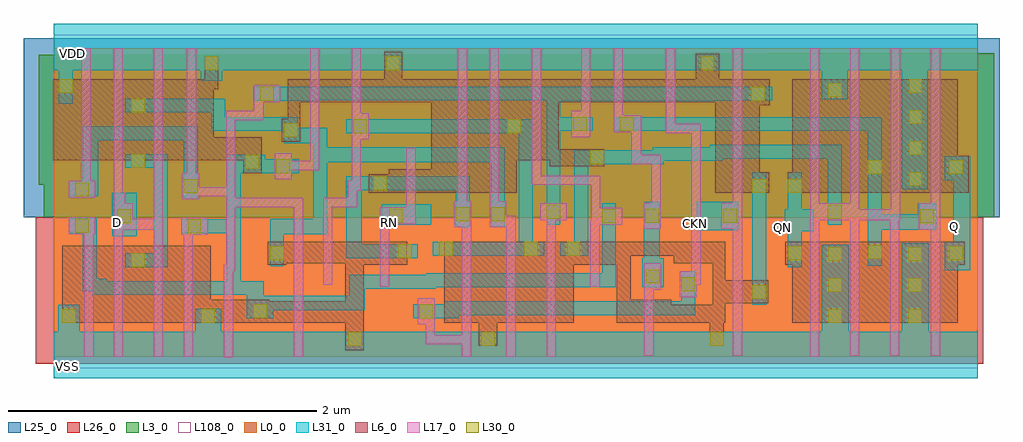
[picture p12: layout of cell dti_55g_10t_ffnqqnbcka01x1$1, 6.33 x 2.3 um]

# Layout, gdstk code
from math import pi, radians
import gdstk
lib = gdstk.Library(unit=1e-6, precision=1e-09)
def R(c, l, rs):  # rectangles x0, y0, x1, y1
    for r in rs: c.add(gdstk.rectangle(r[:2], r[2:], *l))
def P(c, l, *ps):  # polygons
    for p in ps: c.add(gdstk.Polygon(p, *l))
L0_0 = (0, 0)
L3_0 = (3, 0)
L6_0 = (6, 0)
L17_0 = (17, 0)
L25_0 = (25, 0)
L26_0 = (26, 0)
L30_0 = (30, 0)
L31_0 = (31, 0)
L108_0 = (108, 0)
L923_0 = (923, 0)

template_55g_10t_2 = lib.new_cell('template_55g_10t$2')
R(template_55g_10t_2, L31_0, [(0,-0.15,0.2,0.15), (0,1.85,0.2,2.15)])
template_55g_10t_2.add(gdstk.FlexPath([(0.2,0.21),(0,0.21)], 0, ends="flush", simple_path=True, layer=923, datatype=0))  # L923_0
template_55g_10t_2.add(gdstk.FlexPath([(0.2,0.735),(0,0.735)], 0, ends="flush", simple_path=True, layer=923, datatype=0))  # L923_0
template_55g_10t_2.add(gdstk.FlexPath([(0.2,0.895),(0,0.895)], 0, ends="flush", simple_path=True, layer=923, datatype=0))  # L923_0
template_55g_10t_2.add(gdstk.FlexPath([(0.2,1.055),(0,1.055)], 0, ends="flush", simple_path=True, layer=923, datatype=0))  # L923_0
template_55g_10t_2.add(gdstk.FlexPath([(0.2,1.79),(0,1.79)], 0, ends="flush", simple_path=True, layer=923, datatype=0))  # L923_0

cellgrid_nom2_2 = lib.new_cell('cellgrid_noM2$2')
R(cellgrid_nom2_2, L0_0, [(0,0,0.2,0.2)])
cellgrid_nom2_2.add(gdstk.FlexPath([(0.2,0),(0,0.2)], 0, ends="flush", simple_path=True, layer=0, datatype=0))  # L0_0
cellgrid_nom2_2.add(gdstk.FlexPath([(0.2,0.2),(0,0)], 0, ends="flush", simple_path=True, layer=0, datatype=0))  # L0_0

pmos_735_n_2 = lib.new_cell('pmos_735_n_2')
R(pmos_735_n_2, L3_0, [(-0.275,-0.16,0.335,0.895)])
R(pmos_735_n_2, L6_0, [(-0.115,0,0.175,0.735)])
R(pmos_735_n_2, L17_0, [(0,-0.14,0.06,0.875)])
R(pmos_735_n_2, L25_0, [(-0.245,-0.16,0.305,0.895)])

cnt_n_2 = lib.new_cell('cnt_n$2')
R(cnt_n_2, L6_0, [(-0.06,-0.075,0.06,0.075)])
R(cnt_n_2, L30_0, [(-0.045,-0.045,0.045,0.045)])
R(cnt_n_2, L31_0, [(-0.045,-0.045,0.045,0.045)])

pmos_4_n_2 = lib.new_cell('pmos_4_n_2')
R(pmos_4_n_2, L3_0, [(-0.275,-0.16,0.335,0.56)])
R(pmos_4_n_2, L6_0, [(-0.115,0,0.175,0.4)])
R(pmos_4_n_2, L17_0, [(0,-0.14,0.06,0.54)])
R(pmos_4_n_2, L25_0, [(-0.245,-0.16,0.305,0.56)])

pmos_15_n_2 = lib.new_cell('pmos_15_n_2')
R(pmos_15_n_2, L3_0, [(-0.275,-0.16,0.335,0.31)])
R(pmos_15_n_2, L6_0, [(-0.115,0,0.175,0.15)])
R(pmos_15_n_2, L17_0, [(0,-0.14,0.06,0.29)])
R(pmos_15_n_2, L25_0, [(-0.245,-0.16,0.305,0.31)])

nmos_525_n_2 = lib.new_cell('nmos_525_n_2')
R(nmos_525_n_2, L6_0, [(-0.115,0,0.175,0.525)])
R(nmos_525_n_2, L17_0, [(0,-0.14,0.06,0.665)])
R(nmos_525_n_2, L26_0, [(-0.245,-0.16,0.305,0.685)])

cnt = lib.new_cell('cnt')
R(cnt, L30_0, [(-0.045,-0.045,0.045,0.045)])
R(cnt, L31_0, [(-0.045,-0.045,0.045,0.045)])

cnt_2 = lib.new_cell('cnt$2')
R(cnt_2, L30_0, [(-0.045,-0.045,0.045,0.045)])
R(cnt_2, L31_0, [(-0.045,-0.045,0.045,0.045)])

pcnt_v_1 = lib.new_cell('pcnt_v$1')
R(pcnt_v_1, L17_0, [(-0.055,-0.085,0.055,0.085)])
P(pcnt_v_1, L17_0, [(0.005,0.04),(0.005,0.04),(0.005,0.04),(0.005,0.04)])
pcnt_v_1.add(gdstk.Reference(cnt_2, (0,0)))

nmos_525_n_2_2 = lib.new_cell('nmos_525_n_2$2')
R(nmos_525_n_2_2, L6_0, [(-0.115,-0.01,0.175,0.49)])
R(nmos_525_n_2_2, L17_0, [(0,-0.15,0.06,0.665)])
R(nmos_525_n_2_2, L26_0, [(-0.245,-0.16,0.305,0.66)])

nmos_1_n_2 = lib.new_cell('nmos_1_n_2')
R(nmos_1_n_2, L6_0, [(-0.115,0,0.175,0.14)])
R(nmos_1_n_2, L17_0, [(0,-0.14,0.06,0.27)])
R(nmos_1_n_2, L26_0, [(-0.245,-0.16,0.305,0.275)])

nmos_15_n_2 = lib.new_cell('nmos_15_n_2')
R(nmos_15_n_2, L6_0, [(-0.115,0,0.175,0.15)])
R(nmos_15_n_2, L17_0, [(0,-0.14,0.06,0.29)])
R(nmos_15_n_2, L26_0, [(-0.245,-0.16,0.305,0.31)])

dti_55g_10t_ffnqqnbcka01 = lib.new_cell('dti_55g_10t_ffnqqnbcka01x1$1')
P(dti_55g_10t_ffnqqnbcka01, L3_0, [(-2.12,1.015),(-2.12,2.07),(2.09,2.07),(2.09,2.075),(2.585,2.075),(2.585,2.08),(4.05,2.08),(4.05,1.015)])
R(dti_55g_10t_ffnqqnbcka01, L6_0, [(0.705,0.18,0.825,0.38), (2.205,0.18,2.295,0.33), (-0.16,0.3,-0.04,0.33), (-2,0.33,-1.95,0.83), (-0.665,0.33,-0.57,0.47), (-0.355,0.33,-0.04,0.47), (-0.16,0.33,-0.04,0.855), (0.33,1.175,0.49,1.325), (2.53,1.175,2.59,1.305), (2.71,1.175,2.74,1.305), (3.815,1.175,3.885,1.415), (0.395,1.325,0.465,1.76), (-1.55,1.335,-1.46,1.385), (1.165,1.345,1.52,1.455), (-0.805,1.38,-0.705,1.535), (-2.055,1.385,-1.95,1.91), (-0.535,1.63,-0.455,1.91), (2.53,1.74,2.595,1.91), (0.025,1.76,0.485,1.91), (1.205,1.76,1.325,1.91), (1.725,1.76,1.83,1.91), (2.07,1.76,2.125,1.91), (2.115,1.76,2.265,2.06), (-1.075,1.845,-0.985,2.06), (0.09,1.91,0.21,1.94)])
P(dti_55g_10t_ffnqqnbcka01, L6_0, [(1.94,0.33),(1.94,0.47),(1.955,0.47),(1.955,0.445),(2.225,0.445),(2.225,0.71),(2.225,0.71),(2.225,0.855),(2.305,0.855),(2.305,0.33)],
  [(1.6,0.33),(1.6,0.765),(1.595,0.765),(1.595,0.855),(2.02,0.855),(2.02,0.765),(1.69,0.765),(1.69,0.33)],
  [(-1.915,0.405),(-1.915,0.405),(-1.915,0.405),(-1.915,0.405)])
R(dti_55g_10t_ffnqqnbcka01, L17_0, [(-0.95,0.105,-0.89,0.19), (-1.855,0.11,-1.795,0.19), (-1.665,0.11,-1.605,0.19), (-1.405,0.11,-1.345,0.19), (-1.21,0.11,-1.15,0.19), (-0.495,0.11,-0.435,0.19), (0.595,0.11,0.655,0.19), (0.885,0.11,0.945,0.19), (1.145,0.11,1.205,0.19), (2.855,0.11,2.915,0.19), (1.78,0.115,1.84,0.19), (2.355,0.115,2.415,0.315), (3.115,0.115,3.175,0.19), (3.375,0.115,3.435,0.19), (3.64,0.115,3.7,0.19), (1.78,0.19,1.84,0.255), (2.355,0.715,2.415,1.02), (-0.935,0.79,-0.875,1.175), (-1.575,0.935,-1.345,1.005), (3.64,0.935,3.7,1.1), (0.775,0.95,0.945,1.025), (-1.405,0.96,-1.345,1.275), (-0.495,0.97,-0.435,1.14), (0.065,0.97,0.295,1.08), (2.085,0.97,2.145,1.62), (2.085,0.975,2.14,1.075), (1.435,0.995,1.495,1.24), (2.855,0.995,2.93,1.105), (3.085,0.995,3.13,1.105), (3.115,0.995,3.4,1.065), (3.38,0.995,3.44,1.06), (3.64,1,3.7,1.075), (-1.665,1.005,-1.59,1.175), (2.9,1.005,3.055,1.105), (2.36,1.02,2.415,1.035), (0.565,1.03,0.625,1.465), (0.775,1.03,0.835,1.465), (-0.9,1.08,-0.435,1.14), (1.825,1.085,1.885,1.42), (2.365,1.095,2.415,1.17), (-0.935,1.125,-0.875,1.245), (-1.11,1.15,-0.895,1.21), (-1.665,1.165,-1.605,1.245), (-1.19,1.225,-1.13,1.26), (1.05,1.225,1.495,1.285), (-0.525,1.32,-0.365,1.38), (-0.39,1.32,-0.33,1.63), (1.695,1.36,1.76,1.675), (1.73,1.36,1.86,1.42), (1.4,1.535,1.43,1.635), (1.92,1.56,2.095,1.62), (-0.935,1.575,-0.875,1.705), (-0.935,1.645,-0.695,1.705), (-0.755,1.645,-0.69,1.795), (1.37,1.97,1.43,2.05), (-1.875,2.05,-1.815,2.11), (-1.665,2.05,-1.605,2.11), (-1.405,2.05,-1.345,2.11), (-1.19,2.05,-1.13,2.11), (-0.39,2.05,-0.33,2.11), (-0.12,2.05,-0.06,2.11), (0.57,2.05,0.63,2.11), (0.775,2.05,0.835,2.11), (1.05,2.05,1.11,2.11), (1.37,2.05,1.43,2.11), (1.58,2.05,1.64,2.11), (1.92,2.05,1.98,2.11), (2.355,2.05,2.415,2.11), (2.855,2.05,2.915,2.11), (3.115,2.05,3.175,2.11), (3.38,2.05,3.44,2.11), (3.64,2.05,3.7,2.11)])
P(dti_55g_10t_ffnqqnbcka01, L17_0, [(-0.95,0.62),(-0.95,0.705),(-0.935,0.705),(-0.935,0.79),(-0.875,0.79),(-0.875,0.665),(-0.89,0.665),(-0.89,0.62)],
  [(0.36,0.19),(0.36,0.34),(0.42,0.34),(0.42,0.25),(0.61,0.25),(0.61,0.19)],
  [(-0.305,0.95),(-0.305,1.14),(-0.145,1.14),(-0.145,1.255),(-0.12,1.255),(-0.12,1.52),(-0.06,1.52),(-0.06,1.185),(-0.085,1.185),(-0.085,1.08),(-0.245,1.08),(-0.245,0.95)])
R(dti_55g_10t_ffnqqnbcka01, L25_0, [(-2.25,1.015,4.085,2.175)])
P(dti_55g_10t_ffnqqnbcka01, L25_0, [(-2.09,1.015),(-2.09,2.07),(0.115,2.07),(0.115,2.075),(0.36,2.075),(0.36,2.07),(2.12,2.07),(2.12,2.075),(2.615,2.075),(2.615,2.08),(3.945,2.08),(3.945,2.07),(4.01,2.07),(4.01,1.015)])
R(dti_55g_10t_ffnqqnbcka01, L26_0, [(-2.17,0.065,3.98,1.015)])
P(dti_55g_10t_ffnqqnbcka01, L26_0, [(-0.3,0.175),(-0.3,0.21),(-2.09,0.21),(-2.09,1.015),(3.98,1.015),(3.98,0.21),(3.945,0.21),(3.945,0.205),(3.42,0.205),(3.42,0.2),(2.87,0.2),(2.87,0.205),(2.615,0.205),(2.615,0.21),(1.45,0.21),(1.45,0.2),(0.355,0.2),(0.355,0.21),(0.065,0.21),(0.065,0.175)])
R(dti_55g_10t_ffnqqnbcka01, L31_0, [(-1.135,0.11,-0.965,0.42), (2.93,0.11,3.105,0.835), (3.45,0.11,3.625,0.845), (-2.025,0.115,-1.885,0.445), (-0.145,0.115,0.025,0.27), (0.28,0.36,0.575,0.45), (-1.865,0.535,-1.71,0.615), (-0.135,0.55,0.425,0.64), (-1.59,0.69,-1.4,0.78), (-1.405,0.69,-1.315,1.335), (-1.675,0.89,-1.515,1.175), (0.075,0.965,0.395,1.1), (3.45,1.195,3.62,2.11), (-1.59,1.335,-1.315,1.425), (1.58,1.575,2.31,1.665), (-2.02,1.75,-1.93,2.105), (2.93,1.78,3.1,2.105), (-1.1,1.9,-0.96,2.105), (0.075,1.97,0.23,2.11), (2.1,1.97,2.285,2.11)])
P(dti_55g_10t_ffnqqnbcka01, L31_0, [(2.71,0.69),(2.71,0.925),(2.69,0.925),(2.69,1.065),(2.71,1.065),(2.71,1.305),(2.8,1.305),(2.8,1.065),(2.88,1.065),(2.88,0.925),(2.8,0.925),(2.8,0.69)],
  [(1.235,0.765),(1.235,0.855),(1.325,0.855),(1.325,1.45),(1.835,1.45),(1.835,1.47),(2.205,1.47),(2.205,1.485),(3.06,1.485),(3.06,0.965),(2.97,0.965),(2.97,1.395),(2.29,1.395),(2.29,1.38),(1.905,1.38),(1.905,1.36),(1.415,1.36),(1.415,0.765)],
  [(3.23,0.7),(3.23,1.575),(2.31,1.575),(2.31,1.665),(3.32,1.665),(3.32,1.035),(3.555,1.035),(3.555,1.105),(3.675,1.105),(3.675,0.935),(3.32,0.935),(3.32,0.7)],
  [(2.12,0.93),(2.12,1.115),(2.315,1.115),(2.315,1.115),(2.39,1.115),(2.39,0.93),(2.315,0.93)],
  [(3.73,0.67),(3.73,0.855),(3.785,0.855),(3.785,1.255),(3.73,1.255),(3.73,1.41),(3.895,1.41),(3.895,0.67)],
  [(1.145,0.965),(1.145,1.77),(-0.355,1.77),(-0.355,1.77),(-0.76,1.77),(-0.76,1.86),(-0.25,1.86),(-0.25,1.86),(1.16,1.86),(1.16,1.86),(2.305,1.86),(2.305,1.86),(2.61,1.86),(2.61,1.77),(2.4,1.77),(2.4,1.77),(1.235,1.77),(1.235,1.665),(1.445,1.665),(1.445,1.575),(1.235,1.575),(1.235,0.965)],
  [(0.405,0.765),(0.405,0.855),(0.965,0.855),(0.965,1.56),(-0.155,1.56),(-0.155,1.65),(1.055,1.65),(1.055,0.855),(1.13,0.855),(1.13,0.765),(1.065,0.765),(0.955,0.765)],
  [(-0.155,0.75),(-0.155,1.28),(0.645,1.28),(0.645,0.95),(0.555,0.95),(0.555,1.19),(-0.055,1.19),(-0.055,0.84),(0.31,0.84),(0.31,0.75),(0.24,0.75)],
  [(1.765,0.56),(1.765,0.75),(1.775,0.75),(1.775,1.115),(1.88,1.115),(1.88,0.75),(1.905,0.75),(1.905,0.56)],
  [(0.485,0.38),(0.485,0.47),(0.54,0.47),(0.54,0.47),(2.02,0.47),(2.02,0.665),(2.11,0.665),(2.11,0.38),(0.55,0.38),(0.55,0.38)],
  [(0.365,0.56),(0.365,0.65),(1.505,0.65),(1.505,1.105),(1.595,1.105),(1.595,0.56)],
  [(-0.65,0.695),(-0.65,0.795),(-0.65,0.795),(-0.65,1.005),(-0.37,1.005),(-0.37,1.495),(-0.56,1.495),(-0.56,1.57),(-0.56,1.57),(-0.56,1.575),(-1.03,1.575),(-1.03,1.695),(-1.59,1.695),(-1.59,1.785),(-0.94,1.785),(-0.94,1.665),(-0.47,1.665),(-0.47,1.595),(-0.28,1.595),(-0.28,1.47),(0.875,1.47),(0.875,0.95),(0.785,0.95),(0.785,1.37),(-0.28,1.37),(-0.28,0.905),(-0.56,0.905),(-0.56,0.695)],
  [(-1.21,1.13),(-1.21,1.515),(-1.765,1.515),(-1.765,1.15),(-1.955,1.15),(-1.955,1.25),(-1.865,1.25),(-1.865,1.605),(-1.12,1.605),(-1.12,1.235),(-1.12,1.235),(-1.12,1.13)],
  [(-1.865,0.565),(-1.865,0.91),(-1.955,0.91),(-1.955,1.01),(-1.775,1.01),(-1.775,0.565)],
  [(-0.8,0.36),(-0.8,0.51),(-1.8,0.51),(-1.8,0.6),(-0.93,0.6),(-0.93,0.91),(-1.225,0.91),(-1.225,1),(-0.93,1),(-0.93,1.42),(-0.68,1.42),(-0.68,1.39),(-0.46,1.39),(-0.46,1.3),(-0.84,1.3),(-0.84,0.6),(-0.69,0.6),(-0.69,0.505),(-0.135,0.505),(-0.135,0.55),(-0.035,0.55),(-0.035,0.41),(-0.63,0.41),(-0.63,0.36)],
  [(2.48,0.445),(2.48,1.22),(2.48,1.22),(2.48,1.305),(2.57,1.305),(2.57,0.61),(2.57,0.61),(2.57,0.445)])
R(dti_55g_10t_ffnqqnbcka01, L108_0, [(-2.055,0.035,3.945,2.2)])
r = gdstk.Reference(template_55g_10t_2, (-2.055,0.12)); r.repetition = gdstk.Repetition(30, 1, v1=(0.2,0), v2=(0,0)); dti_55g_10t_ffnqqnbcka01.add(r)
r = gdstk.Reference(cellgrid_nom2_2, (-2.055,0.11)); r.repetition = gdstk.Repetition(30, 10, v1=(0.2,0), v2=(0,0.2)); dti_55g_10t_ffnqqnbcka01.add(r)
dti_55g_10t_ffnqqnbcka01.add(gdstk.Reference(pmos_735_n_2, (0.57,1.175)))
dti_55g_10t_ffnqqnbcka01.add(gdstk.Reference(pmos_735_n_2, (0.775,1.175)))
dti_55g_10t_ffnqqnbcka01.add(gdstk.Reference(cnt_n_2, (0.935,1.605), rotation=pi/2))
dti_55g_10t_ffnqqnbcka01.add(gdstk.Reference(pmos_735_n_2, (3.64,1.175)))
dti_55g_10t_ffnqqnbcka01.add(gdstk.Reference(pmos_735_n_2, (3.38,1.175)))
dti_55g_10t_ffnqqnbcka01.add(gdstk.Reference(pmos_735_n_2, (2.355,1.175)))
r = gdstk.Reference(pmos_4_n_2, (1.05,1.385)); r.repetition = gdstk.Repetition(1, 2, v1=(0,0), v2=(0,0.125)); dti_55g_10t_ffnqqnbcka01.add(r)
dti_55g_10t_ffnqqnbcka01.add(gdstk.Reference(pmos_15_n_2, (0.235,1.175)))
dti_55g_10t_ffnqqnbcka01.add(gdstk.Reference(nmos_525_n_2, (1.145,0.33)))
dti_55g_10t_ffnqqnbcka01.add(gdstk.Reference(nmos_525_n_2, (0.885,0.33)))
dti_55g_10t_ffnqqnbcka01.add(gdstk.Reference(pmos_735_n_2, (2.855,1.175)))
dti_55g_10t_ffnqqnbcka01.add(gdstk.Reference(pmos_735_n_2, (3.115,1.175)))
dti_55g_10t_ffnqqnbcka01.add(gdstk.Reference(cnt, (2.755,1.22)))
dti_55g_10t_ffnqqnbcka01.add(gdstk.Reference(cnt_n_2, (3.015,1.84), rotation=pi/2))
dti_55g_10t_ffnqqnbcka01.add(gdstk.Reference(cnt, (3.54,1.865)))
dti_55g_10t_ffnqqnbcka01.add(gdstk.Reference(cnt_n_2, (3.54,1.265), rotation=pi/2))
dti_55g_10t_ffnqqnbcka01.add(gdstk.Reference(cnt_n_2, (3.54,1.665), rotation=pi/2))
dti_55g_10t_ffnqqnbcka01.add(gdstk.Reference(cnt_n_2, (3.54,1.465), rotation=pi/2))
dti_55g_10t_ffnqqnbcka01.add(gdstk.Reference(cnt_n_2, (3.275,1.34), rotation=pi/2))
dti_55g_10t_ffnqqnbcka01.add(gdstk.Reference(cnt_n_2, (3.8,1.34)))
dti_55g_10t_ffnqqnbcka01.add(gdstk.Reference(pmos_15_n_2, (1.92,1.76)))
dti_55g_10t_ffnqqnbcka01.add(gdstk.Reference(pmos_15_n_2, (1.37,1.76)))
dti_55g_10t_ffnqqnbcka01.add(gdstk.Reference(pmos_15_n_2, (1.58,1.76)))
dti_55g_10t_ffnqqnbcka01.add(gdstk.Reference(pcnt_v_1, (1.36,1.62)))
dti_55g_10t_ffnqqnbcka01.add(gdstk.Reference(pcnt_v_1, (1.665,1.62), rotation=pi/2))
dti_55g_10t_ffnqqnbcka01.add(gdstk.Reference(cnt, (1.475,1.405)))
dti_55g_10t_ffnqqnbcka01.add(gdstk.Reference(cnt, (2.525,1.22)))
dti_55g_10t_ffnqqnbcka01.add(gdstk.Reference(cnt_n_2, (2.19,2.015), rotation=pi/2))
dti_55g_10t_ffnqqnbcka01.add(gdstk.Reference(cnt_n_2, (2.515,1.815)))
dti_55g_10t_ffnqqnbcka01.add(gdstk.Reference(cnt_n_2, (0.065,1.235), rotation=pi/2))
dti_55g_10t_ffnqqnbcka01.add(gdstk.Reference(pcnt_v_1, (-1.87,1.195), rotation=pi/2))
dti_55g_10t_ffnqqnbcka01.add(gdstk.Reference(pcnt_v_1, (-0.67,1.815), rotation=pi/2))
dti_55g_10t_ffnqqnbcka01.add(gdstk.Reference(pcnt_v_1, (-0.065,1.605)))
dti_55g_10t_ffnqqnbcka01.add(gdstk.Reference(pcnt_v_1, (-0.565,1.345)))
dti_55g_10t_ffnqqnbcka01.add(gdstk.Reference(pmos_15_n_2, (-0.39,1.76)))
dti_55g_10t_ffnqqnbcka01.add(gdstk.Reference(pcnt_v_1, (-1.165,1.215)))
dti_55g_10t_ffnqqnbcka01.add(gdstk.Reference(cnt, (-1.03,2.015)))
dti_55g_10t_ffnqqnbcka01.add(gdstk.Reference(cnt, (-1.505,1.38)))
dti_55g_10t_ffnqqnbcka01.add(gdstk.Reference(cnt_n_2, (-1.505,1.74)))
r = gdstk.Reference(pmos_4_n_2, (-1.405,1.385)); r.repetition = gdstk.Repetition(1, 2, v1=(0,0), v2=(0,0.125)); dti_55g_10t_ffnqqnbcka01.add(r)
dti_55g_10t_ffnqqnbcka01.add(gdstk.Reference(pmos_15_n_2, (-0.12,1.76)))
r = gdstk.Reference(pmos_4_n_2, (-1.875,1.385)); r.repetition = gdstk.Repetition(1, 2, v1=(0,0), v2=(0,0.125)); dti_55g_10t_ffnqqnbcka01.add(r)
r = gdstk.Reference(pmos_4_n_2, (-1.665,1.385)); r.repetition = gdstk.Repetition(1, 2, v1=(0,0), v2=(0,0.125)); dti_55g_10t_ffnqqnbcka01.add(r)
r = gdstk.Reference(pmos_4_n_2, (-1.19,1.385)); r.repetition = gdstk.Repetition(1, 2, v1=(0,0), v2=(0,0.125)); dti_55g_10t_ffnqqnbcka01.add(r)
dti_55g_10t_ffnqqnbcka01.add(gdstk.Reference(pmos_15_n_2, (-0.935,1.385)))
dti_55g_10t_ffnqqnbcka01.add(gdstk.Reference(cnt, (-1.975,1.865)))
dti_55g_10t_ffnqqnbcka01.add(gdstk.Reference(cnt_n_2, (-0.765,1.375)))
dti_55g_10t_ffnqqnbcka01.add(gdstk.Reference(cnt_n_2, (-0.515,1.58)))
dti_55g_10t_ffnqqnbcka01.add(gdstk.Reference(cnt_n_2, (0.15,2.015)))
dti_55g_10t_ffnqqnbcka01.add(gdstk.Reference(nmos_525_n_2_2, (-1.405,0.34)))
dti_55g_10t_ffnqqnbcka01.add(gdstk.Reference(nmos_1_n_2, (-0.495,0.33)))
dti_55g_10t_ffnqqnbcka01.add(gdstk.Reference(nmos_1_n_2, (-0.495,0.715)))
dti_55g_10t_ffnqqnbcka01.add(gdstk.Reference(nmos_1_n_2, (-0.305,0.715)))
dti_55g_10t_ffnqqnbcka01.add(gdstk.Reference(nmos_15_n_2, (0.065,0.705)))
dti_55g_10t_ffnqqnbcka01.add(gdstk.Reference(pcnt_v_1, (-1.87,0.96), rotation=pi/2))
dti_55g_10t_ffnqqnbcka01.add(gdstk.Reference(pcnt_v_1, (-1.595,1.02)))
dti_55g_10t_ffnqqnbcka01.add(gdstk.Reference(pcnt_v_1, (-1.14,0.955), rotation=3*pi/2))
dti_55g_10t_ffnqqnbcka01.add(gdstk.Reference(cnt_n_2, (-0.715,0.405)))
dti_55g_10t_ffnqqnbcka01.add(gdstk.Reference(cnt_n_2, (-0.605,0.78)))
dti_55g_10t_ffnqqnbcka01.add(gdstk.Reference(nmos_525_n_2_2, (-1.21,0.34)))
dti_55g_10t_ffnqqnbcka01.add(gdstk.Reference(cnt, (0.765,0.225)))
dti_55g_10t_ffnqqnbcka01.add(gdstk.Reference(nmos_15_n_2, (-0.95,0.33)))
dti_55g_10t_ffnqqnbcka01.add(gdstk.Reference(pcnt_v_1, (0.17,1.025), rotation=pi/2))
dti_55g_10t_ffnqqnbcka01.add(gdstk.Reference(cnt, (0.225,0.795)))
dti_55g_10t_ffnqqnbcka01.add(gdstk.Reference(cnt_n_2, (-0.1,0.225)))
dti_55g_10t_ffnqqnbcka01.add(gdstk.Reference(pcnt_v_1, (0.365,0.405)))
dti_55g_10t_ffnqqnbcka01.add(gdstk.Reference(cnt, (0.49,0.81)))
dti_55g_10t_ffnqqnbcka01.add(gdstk.Reference(pcnt_v_1, (0.6,1.035)))
dti_55g_10t_ffnqqnbcka01.add(gdstk.Reference(pcnt_v_1, (0.83,1.035)))
dti_55g_10t_ffnqqnbcka01.add(gdstk.Reference(nmos_525_n_2_2, (-1.855,0.34)))
dti_55g_10t_ffnqqnbcka01.add(gdstk.Reference(nmos_525_n_2_2, (-1.665,0.34)))
dti_55g_10t_ffnqqnbcka01.add(gdstk.Reference(cnt, (-1.955,0.375)))
dti_55g_10t_ffnqqnbcka01.add(gdstk.Reference(nmos_525_n_2, (0.595,0.33)))
dti_55g_10t_ffnqqnbcka01.add(gdstk.Reference(cnt_n_2, (-1.505,0.735)))
dti_55g_10t_ffnqqnbcka01.add(gdstk.Reference(cnt, (-1.05,0.375)))
dti_55g_10t_ffnqqnbcka01.add(gdstk.Reference(nmos_15_n_2, (1.43,0.705)))
dti_55g_10t_ffnqqnbcka01.add(gdstk.Reference(pcnt_v_1, (1.19,1.05), rotation=pi/2))
dti_55g_10t_ffnqqnbcka01.add(gdstk.Reference(pcnt_v_1, (1.55,1.02), rotation=pi/2))
dti_55g_10t_ffnqqnbcka01.add(gdstk.Reference(pcnt_v_1, (1.835,0.63)))
dti_55g_10t_ffnqqnbcka01.add(gdstk.Reference(pcnt_v_1, (1.83,1.025)))
dti_55g_10t_ffnqqnbcka01.add(gdstk.Reference(pcnt_v_1, (3.615,1.02)))
dti_55g_10t_ffnqqnbcka01.add(gdstk.Reference(pcnt_v_1, (2.335,1.025)))
dti_55g_10t_ffnqqnbcka01.add(gdstk.Reference(cnt_n_2, (3.8,0.78)))
dti_55g_10t_ffnqqnbcka01.add(gdstk.Reference(cnt, (1.045,0.81)))
dti_55g_10t_ffnqqnbcka01.add(gdstk.Reference(pcnt_v_1, (2.065,0.58)))
dti_55g_10t_ffnqqnbcka01.add(gdstk.Reference(nmos_525_n_2, (2.855,0.33)))
dti_55g_10t_ffnqqnbcka01.add(gdstk.Reference(cnt, (1.32,0.81)))
dti_55g_10t_ffnqqnbcka01.add(gdstk.Reference(nmos_15_n_2, (1.78,0.33)))
dti_55g_10t_ffnqqnbcka01.add(gdstk.Reference(cnt_n_2, (2.525,0.53)))
dti_55g_10t_ffnqqnbcka01.add(gdstk.Reference(cnt, (2.25,0.225)))
dti_55g_10t_ffnqqnbcka01.add(gdstk.Reference(cnt_n_2, (2.755,0.78)))
dti_55g_10t_ffnqqnbcka01.add(gdstk.Reference(nmos_1_n_2, (2.085,0.715)))
dti_55g_10t_ffnqqnbcka01.add(gdstk.Reference(nmos_15_n_2, (2.355,0.455)))
dti_55g_10t_ffnqqnbcka01.add(gdstk.Reference(nmos_525_n_2, (3.64,0.33)))
dti_55g_10t_ffnqqnbcka01.add(gdstk.Reference(nmos_525_n_2, (3.375,0.33)))
dti_55g_10t_ffnqqnbcka01.add(gdstk.Reference(nmos_525_n_2, (3.115,0.33)))
dti_55g_10t_ffnqqnbcka01.add(gdstk.Reference(pcnt_v_1, (3.015,1.05), rotation=pi/2))
dti_55g_10t_ffnqqnbcka01.add(gdstk.Reference(cnt_n_2, (3.015,0.775), rotation=pi/2))
dti_55g_10t_ffnqqnbcka01.add(gdstk.Reference(cnt, (3.015,0.375)))
dti_55g_10t_ffnqqnbcka01.add(gdstk.Reference(cnt_n_2, (3.015,0.575), rotation=pi/2))
dti_55g_10t_ffnqqnbcka01.add(gdstk.Reference(cnt_n_2, (3.275,0.79), rotation=pi/2))
dti_55g_10t_ffnqqnbcka01.add(gdstk.Reference(cnt_n_2, (3.535,0.775), rotation=pi/2))
dti_55g_10t_ffnqqnbcka01.add(gdstk.Reference(cnt, (3.535,0.375)))
dti_55g_10t_ffnqqnbcka01.add(gdstk.Reference(cnt_n_2, (3.535,0.575), rotation=pi/2))
dti_55g_10t_ffnqqnbcka01.add(gdstk.Label('QN', (2.675,0.945), layer=131, texttype=0))
dti_55g_10t_ffnqqnbcka01.add(gdstk.Label('VDD', (-1.935,2.075), layer=131, texttype=0))
dti_55g_10t_ffnqqnbcka01.add(gdstk.Label('VSS', (-1.965,0.045), layer=131, texttype=0))
dti_55g_10t_ffnqqnbcka01.add(gdstk.Label('D', (-1.64,0.98), layer=131, texttype=0))
dti_55g_10t_ffnqqnbcka01.add(gdstk.Label('RN', (0.125,0.98), layer=131, texttype=0))
dti_55g_10t_ffnqqnbcka01.add(gdstk.Label('CKN', (2.115,0.975), layer=131, texttype=0))
dti_55g_10t_ffnqqnbcka01.add(gdstk.Label('Q', (3.79,0.955), layer=131, texttype=0))

lib.write_gds('dti_55g_10t_ffnqqnbcka01x1_1.gds')
